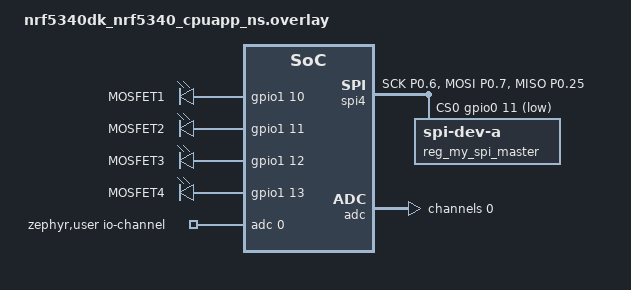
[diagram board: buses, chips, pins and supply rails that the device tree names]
&pinctrl {
	spi_master_default: spi_master_default {
		group1 {
			psels = <NRF_PSEL(SPIM_SCK, 0, 6)>,
					<NRF_PSEL(SPIM_MOSI, 0, 7)>,
					<NRF_PSEL(SPIM_MISO, 0, 25)>;
		};
	};

	spi_master_sleep: spi_master_sleep {
		group1 {
			psels = <NRF_PSEL(SPIM_SCK, 0, 6)>,
					<NRF_PSEL(SPIM_MOSI, 0, 7)>,
					<NRF_PSEL(SPIM_MISO, 0, 25)>;
			low-power-enable;
		};
	};
};

my_spi_master: &spi4 {
	compatible = "nordic,nrf-spim";
	status = "okay";
	pinctrl-0 = <&spi_master_default>;
	pinctrl-1 = <&spi_master_sleep>;
	cs-gpios = <&gpio0 11 GPIO_ACTIVE_LOW>;
	reg_my_spi_master:  spi-dev-a@0 {
		reg = <0>;
	};
};
/ {
	leds {
		compatible = "gpio-leds";
		mosfet1: led_0 {
			gpios = <&gpio1 10 GPIO_ACTIVE_HIGH>;
			label = "MOSFET1";
		};
		mosfet2: led_1 {
			gpios = <&gpio1 11 GPIO_ACTIVE_HIGH>;
			label = "MOSFET2";
		};
		mosfet3: led_2 {
			gpios = <&gpio1 12 GPIO_ACTIVE_HIGH>;
			label = "MOSFET3";
		};
		mosfet4: led_3 {
			gpios = <&gpio1 13 GPIO_ACTIVE_HIGH>;
			label = "MOSFET4";
		};
	};
};
/* 
 / {
	leds {
		compatible = "gpio-leds";
		mosfet2: led_1 {
			gpios = <&gpio1 10 GPIO_ACTIVE_HIGH>;
			label = "MOSFET2";
		};
	};
};

/ {
	leds {
		compatible = "gpio-leds";
		mosfet3: led_0 {
			gpios = <&gpio1 11 GPIO_ACTIVE_HIGH>;
			label = "MOSFET3";
		};
	};
};

/ {
	leds {
		compatible = "gpio-leds";
		mosfet4: led_2 {
			gpios = <&gpio1 12 GPIO_ACTIVE_HIGH>;
			label = "MOSFET4";
		};
	};
};
*/


&adc {
	#address-cells = <1>;
	#size-cells = <0>;
	channel@0 {
		reg = <0>;
		zephyr,gain = "ADC_GAIN_1_6";
		zephyr,reference = "ADC_REF_INTERNAL";
		zephyr,acquisition-time = <ADC_ACQ_TIME_DEFAULT>;
		zephyr,input-positive = <NRF_SAADC_AIN0>; /* P0.03 */
		zephyr,resolution = <12>;
	};
	status = "okay";
};

/ {
	zephyr,user {
		io-channels = <&adc 0>;
	};
};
